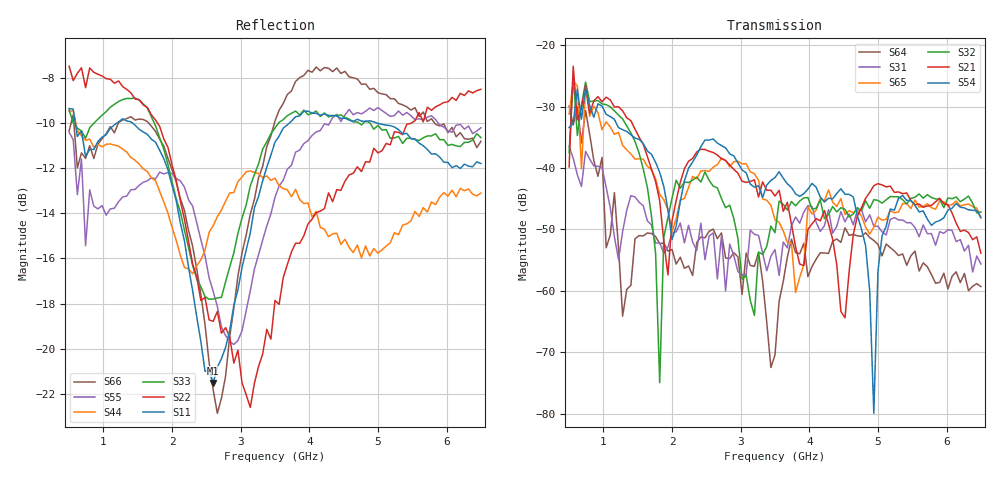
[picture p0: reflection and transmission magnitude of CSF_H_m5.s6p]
!Keysight Technologies,M9804A,MY58100912,A.14.10.03
!Date: Thursday, April 27, 2023 10:28:33
!Correction: S11(C  6-Port  )
!S12(C  6-Port  )
!S13(C  6-Port  )
!S14(C  6-Port  )
!S15(C  6-Port  )
!S16(C  6-Port  )
!S21(C  6-Port  )
!S22(C  6-Port  )
!S23(C  6-Port  )
!S24(C  6-Port  )
!S25(C  6-Port  )
!S26(C  6-Port  )
!S31(C  6-Port  )
!S32(C  6-Port  )
!S33(C  6-Port  )
!S34(C  6-Port  )
!S35(C  6-Port  )
!S36(C  6-Port  )
!S41(C  6-Port  )
!S42(C  6-Port  )
!S43(C  6-Port  )
!S44(C  6-Port  )
!S45(C  6-Port  )
!S46(C  6-Port  )
!S51(C  6-Port  )
!S52(C  6-Port  )
!S53(C  6-Port  )
!S54(C  6-Port  )
!S55(C  6-Port  )
!S56(C  6-Port  )
!S61(C  6-Port  )
!S62(C  6-Port  )
!S63(C  6-Port  )
!S64(C  6-Port  )
!S65(C  6-Port  )
!S66(C  6-Port  )
!S6P File: Measurement: :
# Hz S  RI  R 50
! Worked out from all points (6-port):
!   101 points, 500 MHz to 6.5 GHz, reference 50 ohm
!   strongest paths, dB at 500 MHz, 2 GHz, 3.5 GHz, 5 GHz, 6.5 GHz:
!     S54: -33.4, -51.6, -41.6, -56.9, -48.1
!     S21: -39.8, -48.6, -44.6, -42.6, -53.9
!     S32: -37.5, -44.9, -50.5, -45.3, -47.2
!     S65: -31.2, -50.4, -48.5, -48.0, -48.1
!     S31: -36.5, -50.6, -53.3, -49.5, -55.6
!     S64: -29.9, -53.3, -70.4, -52.4, -59.3
!   lowest |S11| = -21.5 dB at 2.6 GHz (marker M1), VSWR 1.18, Z = 42.5 + j2.15 ohm
!   |S11| at or under -10 dB: 590.1 MHz to 1.201 GHz (610.8 MHz wide, 68.2 % of centre); 1.419 GHz to 3.713 GHz (2.294 GHz wide, 89.4 % of centre); 4.977 GHz to end of sweep
